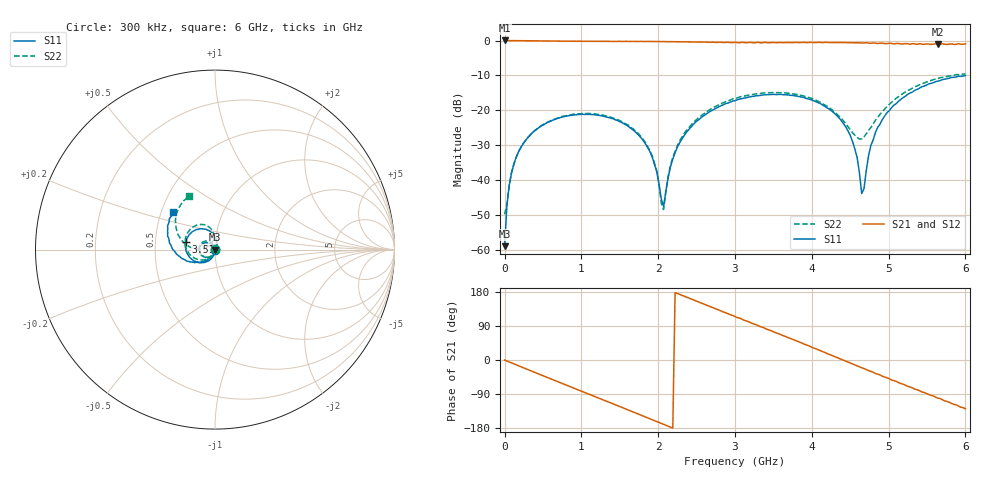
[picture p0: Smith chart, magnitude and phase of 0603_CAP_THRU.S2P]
!Agilent Technologies,E5071C,MY46106283,A.09.10
!Date: Tue Jan 23 23:54:04 2001
!Data & Calibration Information:
!Freq	S11:SOLT2(ON)	S41:SOLT2(ON)	S14:SOLT2(ON)	S44:SOLT2(ON)
# Hz S dB R 50
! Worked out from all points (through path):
!   201 points, 300 kHz to 6 GHz, reference 50 ohm
!   highest |S21| = 0.02 dB at 300 kHz (marker M1); lowest = -1.1 dB at 5.64 GHz (marker M2)
!   group delay of S21, straight-line fit = 226 ps
!   lowest |S11| = -59.0 dB at 300 kHz (marker M3), VSWR 1.00, Z = 49.9 - j0.0737 ohm
!   |S11| at or under -10 dB: start of sweep to end of sweep
!   |S22| runs from -49.9 to -9.6 dB; largest |S21 - S12| = 0.017
!   S11 on the Smith chart (normalised r, x): 300 kHz: 1.00, -0.00; 3.51 GHz: 0.72, +0.07; 6 GHz: 0.58, +0.27
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300000  -59.01 -138.8  0.02 -0.1  -0.01 -0.0  -49.86 129.8
3.02985e7  -47.42 -90.3  -0.01 -2.6  -0.01 -2.6  -47.01 -89.6
6.0297e7  -41.53 -93.2  -0.02 -5.1  -0.02 -5.1  -41.64 -93.6
2.102895e8  -30.74 -109.7  -0.05 -17.6  -0.05 -17.6  -30.72 -110.7
5.102745e8  -24.18 -134.9  -0.11 -42.4  -0.11 -42.3  -23.99 -137.6
1.020249e9  -21.17 -175.9  -0.22 -83.9  -0.22 -83.9  -20.97 178.2
1.710214e9  -26.40 132.0  -0.26 -140.2  -0.26 -140.2  -26.03 120.9
1.920204e9  -33.33 122.1  -0.30 -157.4  -0.30 -157.4  -33.03 108.5
2.0102e9  -41.06 129.1  -0.30 -164.9  -0.30 -164.9  -41.21 111.6
2.070196e9  -47.63 -158.4  -0.30 -169.7  -0.30 -169.7  -48.50 -165.1
2.160192e9  -36.18 -103.7  -0.32 -177.1  -0.33 -177.1  -35.85 -112.5
2.340183e9  -27.25 -107.5  -0.38 168.1  -0.37 168.1  -26.63 -120.2
3.00015e9  -17.26 -155.3  -0.49 114.9  -0.48 115.0  -16.66 -171.6
3.510124e9  -15.46 164.7  -0.56 73.7  -0.55 73.6  -14.93 147.4
4.020099e9  -17.24 122.5  -0.58 32.0  -0.56 32.0  -16.83 110.2
4.470076e9  -25.88 80.3  -0.62 -5.4  -0.61 -5.2  -24.68 98.8
4.59007e9  -33.55 60.8  -0.63 -15.2  -0.60 -15.0  -27.79 122.4
4.650068e9  -43.93 11.8  -0.69 -20.4  -0.66 -20.1  -28.22 141.9
4.770062e9  -30.04 -110.5  -0.79 -30.0  -0.74 -29.9  -24.91 171.9
5.01005e9  -20.11 -136.3  -0.77 -49.5  -0.73 -49.3  -18.28 176.2
5.640018e9  -11.65 168.2  -1.13 -100.6  -1.00 -101.2  -10.93 139.6
6e9  -10.07 137.9  -0.93 -128.5  -0.89 -129.3  -9.60 115.5
